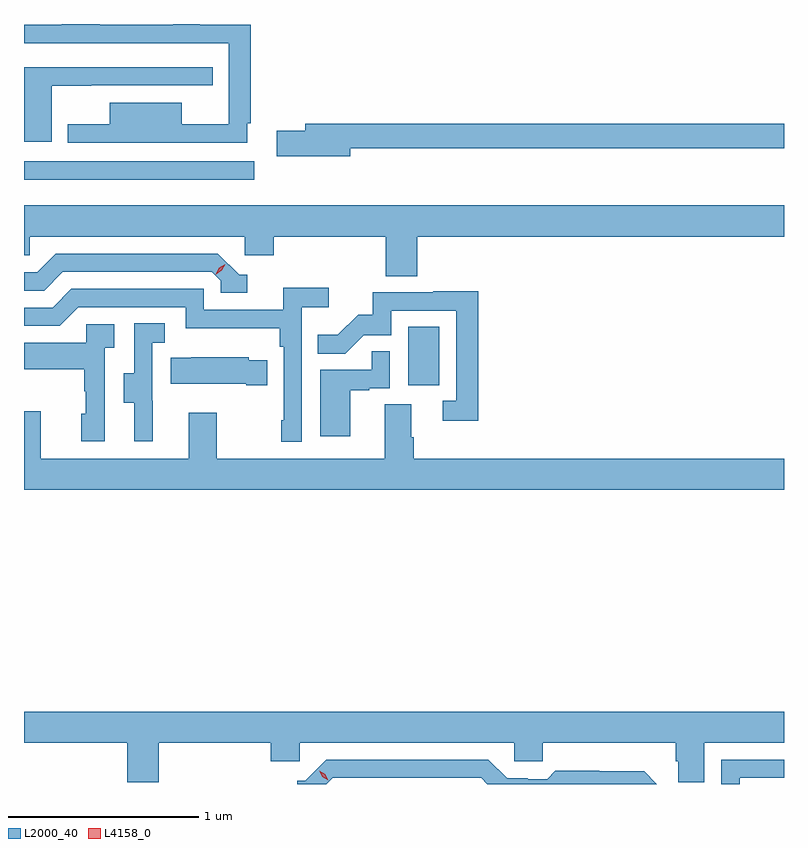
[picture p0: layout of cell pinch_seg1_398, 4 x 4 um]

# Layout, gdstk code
import gdstk
lib = gdstk.Library(unit=1e-6, precision=1e-09)
def R(c, l, rs):  # rectangles x0, y0, x1, y1
    for r in rs: c.add(gdstk.rectangle(r[:2], r[2:], *l))
def P(c, l, *ps):  # polygons
    for p in ps: c.add(gdstk.Polygon(p, *l))
L2000_40 = (2000, 40)
L4158_0 = (4158, 0)

pinch_seg1_398 = lib.new_cell('pinch_seg1_398')
R(pinch_seg1_398, L2000_40, [(987.872,534.966,988.036,535.273), (985.85,536.048,987.061,536.145)])
P(pinch_seg1_398, L2000_40, [(987.025,536.344),(987.044,536.344),(987.044,536.862),(986.776,536.862),(986.776,536.867),(986.636,536.867),(986.636,536.862),(986.248,536.862),(986.248,536.867),(986.048,536.867),(986.048,536.862),(985.85,536.862),(985.85,536.766),(986.928,536.766),(986.928,536.339),(986.68,536.339),(986.68,536.452),(986.3,536.452),(986.3,536.339),(986.081,536.339),(986.081,536.241),(987.025,536.241)],
  [(985.996,536.543),(986.204,536.543),(986.204,536.544),(986.843,536.544),(986.843,536.639),(986.732,536.639),(986.732,536.64),(985.85,536.64),(985.85,536.247),(985.996,536.247)],
  [(987.568,536.214),(989.85,536.214),(989.85,536.342),(987.329,536.342),(987.329,536.306),(987.18,536.306),(987.18,536.171),(987.568,536.171)],
  [(987.92,535.748),(989.85,535.748),(989.85,535.912),(985.85,535.912),(985.85,535.65),(985.881,535.65),(985.881,535.748),(987.012,535.748),(987.012,535.65),(987.164,535.65),(987.164,535.748),(987.755,535.748),(987.755,535.54),(987.92,535.54)],
  [(987.025,535.548),(986.982,535.548),(986.871,535.659),(986.018,535.659),(985.919,535.56),(985.85,535.56),(985.85,535.464),(985.956,535.464),(986.055,535.563),(986.838,535.563),(986.886,535.515),(986.886,535.452),(987.025,535.452)],
  [(987.312,535.376),(987.454,535.376),(987.454,535.478),(987.215,535.478),(987.215,535.362),(986.796,535.362),(986.796,535.473),(986.099,535.473),(986,535.374),(985.85,535.374),(985.85,535.278),(986.037,535.278),(986.136,535.377),(986.7,535.377),(986.7,535.265),(987.196,535.265),(987.196,535.169),(987.216,535.169),(987.216,534.781),(987.204,534.781),(987.204,534.669),(987.312,534.669)],
  [(988.241,535.46),(988.003,535.46),(988.003,535.455),(987.685,535.455),(987.685,535.338),(987.608,535.338),(987.501,535.231),(987.397,535.231),(987.397,535.132),(987.541,535.132),(987.639,535.23),(987.783,535.23),(987.783,535.359),(988.125,535.359),(988.125,534.885),(988.053,534.885),(988.053,534.78),(988.241,534.78)],
  [(986.528,534.885),(986.526,534.885),(986.526,535.189),(986.59,535.189),(986.59,535.292),(986.43,535.292),(986.43,535.029),(986.375,535.029),(986.375,534.874),(986.429,534.874),(986.429,534.672),(986.528,534.672)],
  [(986.274,535.163),(986.326,535.163),(986.326,535.287),(986.178,535.287),(986.178,535.189),(985.85,535.189),(985.85,535.049),(986.166,535.049),(986.166,534.935),(986.176,534.935),(986.176,534.816),(986.15,534.816),(986.15,534.672),(986.274,534.672)],
  [(987.568,534.939),(987.668,534.939),(987.668,534.951),(987.774,534.951),(987.774,535.145),(987.679,535.145),(987.679,535.047),(987.41,535.047),(987.41,534.696),(987.568,534.696)],
  [(987.131,535.096),(987.033,535.096),(987.033,535.114),(986.731,535.114),(986.731,535.111),(986.623,535.111),(986.623,534.974),(987.02,534.974),(987.02,534.967),(987.131,534.967)],
  [(989.85,534.58),(987.902,534.58),(987.902,534.692),(987.889,534.692),(987.889,534.866),(987.749,534.866),(987.749,534.58),(986.865,534.58),(986.865,534.82),(986.717,534.82),(986.717,534.58),(985.937,534.58),(985.937,534.829),(985.85,534.829),(985.85,534.416),(989.85,534.416)],
  [(986.558,533.084),(987.149,533.084),(987.149,532.986),(987.3,532.986),(987.3,533.084),(988.431,533.084),(988.431,532.986),(988.581,532.986),(988.581,533.084),(989.279,533.084),(989.279,532.986),(989.293,532.986),(989.293,532.876),(989.43,532.876),(989.43,533.084),(989.85,533.084),(989.85,533.248),(985.85,533.248),(985.85,533.084),(986.393,533.084),(986.393,532.876),(986.558,532.876)],
  [(989.617,532.899),(989.85,532.899),(989.85,532.995),(989.52,532.995),(989.52,532.867),(989.617,532.867)],
  [(987.474,532.899),(988.257,532.899),(988.289,532.867),(989.18,532.867),(989.114,532.933),(988.878,532.933),(988.878,532.936),(988.645,532.936),(988.603,532.893),(988.5,532.893),(988.5,532.896),(988.393,532.896),(988.294,532.995),(987.441,532.995),(987.33,532.884),(987.287,532.884),(987.287,532.867),(987.442,532.867)])
P(pinch_seg1_398, L4158_0, [(987.451,532.886),(987.42,532.905),(987.404,532.938),(987.404,532.938),(987.404,532.938),(987.435,532.919),(987.451,532.886),(987.451,532.886)],
  [(986.86,535.55),(986.86,535.55),(986.877,535.583),(986.908,535.602),(986.908,535.602),(986.908,535.602),(986.892,535.57),(986.861,535.55)])

lib.write_gds('pinch_seg1_398.gds')
